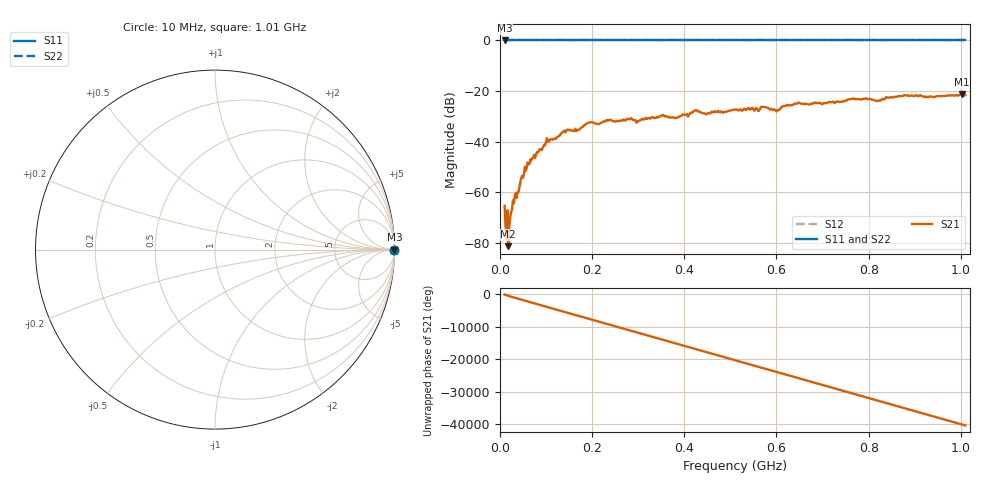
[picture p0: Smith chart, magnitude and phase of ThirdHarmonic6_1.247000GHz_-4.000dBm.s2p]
! 8/16/2025 1:17:39 PM
! C:\ANRITSUVNA\TEMP\TEMP.S2P
! CHANNEL.1
! TR.MEASUREMENT
! RAW.DATA
! RF.CORRECTION.OFF
! AVERAGING.OFF
! IF.BANDWIDTH: 5KHZ
! SWEEPTYPE:  FREQ.SWEEP(Linear)
! Reference Plane Port Info
! PORT:  PORT1  PORT2
! DISTANCE:  0  m  0  m
! TIME:  0  s  0  s
! PHASE.OFFSET:  0  deg.  0  deg.
! LOSS:  0  dB  0  dB
! REF.LOSS:  0  dB  0  dB
! REF.FREQ:  0  Hz  0  Hz
! Power Info
! POWER:  -20  dBm  -20  dBm
! EFF.POWER:  -20  dBm  -20  dBm
! SOURCE.ATTEN:  0  dB  0  dB
! TEST.ATTEN:  0  dB  0  dB
# GHZ S RI R 50.0
! FREQ.GHZ  S11RE  S11IM  S21RE  S21IM  S12RE  S12IM  S22RE  S22IM
!; PortSelection: Port_12
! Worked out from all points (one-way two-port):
!   501 points, 10 MHz to 1.01 GHz, reference 50 ohm
!   highest |S21| = -21.17 dB at 1.002 GHz (marker M1); lowest = -81.3 dB at 18 MHz (marker M2)
!   lowest |S11| = 0.0 dB at 10 MHz (marker M3)
!   |S11| at or under -10 dB: nowhere
!   |S22| runs from 0.0 to 0.0 dB; largest |S21 - S12| = 1.1
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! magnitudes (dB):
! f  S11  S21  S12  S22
! 10 MHz  0.0  -65.3  0.0  0.0
! 12 MHz  0.0  -73.2  0.0  0.0
! 16 MHz  0.0  -67.1  0.0  0.0
! 18 MHz  0.0  -81.3  0.0  0.0
! 22 MHz  0.0  -70.1  0.0  0.0
! 24 MHz  0.0  -67.9  0.0  0.0
! 30 MHz  0.0  -64.4  0.0  0.0
! 40 MHz  0.0  -59.9  0.0  0.0
! 50 MHz  0.0  -54.3  0.0  0.0
! 70 MHz  0.0  -46.5  0.0  0.0
! 104 MHz  0.0  -39.9  0.0  0.0
! 178 MHz  0.0  -34.2  0.0  0.0
! 196 MHz  0.0  -32.3  0.0  0.0
! 344 MHz  0.0  -30.3  0.0  0.0
! 510 MHz  0.0  -27.3  0.0  0.0
! 572 MHz  0.0  -26.3  0.0  0.0
! 602 MHz  0.0  -27.7  0.0  0.0
! 620 MHz  0.0  -25.8  0.0  0.0
! 678 MHz  0.0  -25.0  0.0  0.0
! 844 MHz  0.0  -22.6  0.0  0.0
! 1.002 GHz  0.0  -21.2  0.0  0.0
! 1.01 GHz  0.0  -21.6  0.0  0.0
